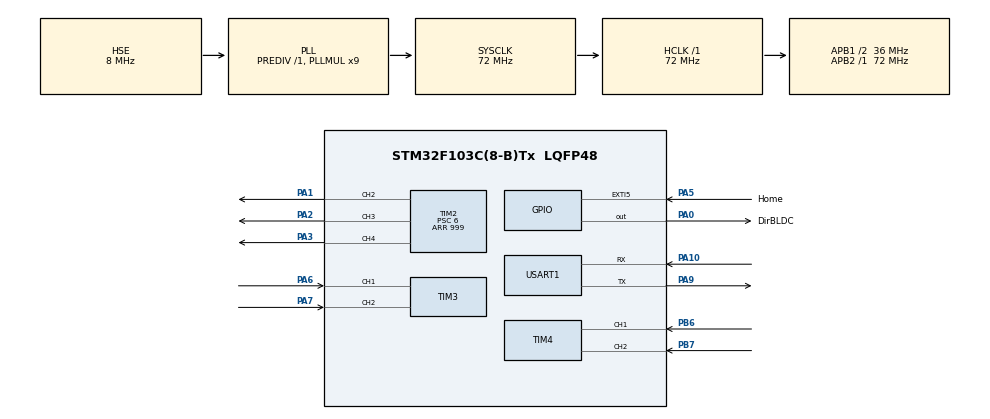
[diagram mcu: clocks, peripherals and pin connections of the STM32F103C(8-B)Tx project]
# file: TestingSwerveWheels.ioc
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Dma.Request0=USART1_RX
Dma.USART1_RX.0.Direction=DMA_PERIPH_TO_MEMORY
Dma.USART1_RX.0.Instance=DMA1_Channel5
Dma.USART1_RX.0.MemDataAlignment=DMA_MDATAALIGN_BYTE
Dma.USART1_RX.0.MemInc=DMA_MINC_ENABLE
Dma.USART1_RX.0.Mode=DMA_NORMAL
Dma.USART1_RX.0.PeriphDataAlignment=DMA_PDATAALIGN_BYTE
Dma.USART1_RX.0.PeriphInc=DMA_PINC_DISABLE
Dma.USART1_RX.0.Priority=DMA_PRIORITY_LOW
FREERTOS.Tasks01=PID_BLDC,-1,128,StartPID_BLDC,Default,NULL,Dynamic,NULL,NULL;PID_DC,1,128,StartPID_DC,Default,NULL,Dynamic,NULL,NULL;LogicTask,0,128,StartLogicTask,Default,NULL,Dynamic,NULL,NULL
Mcu.Family=STM32F1
Mcu.Name=STM32F103C(8-B)Tx
Mcu.Package=LQFP48
NVIC.DMA1_Channel5_IRQn=true\:5\:0\:false\:false\:true\:true\:false\:true\:true
NVIC.EXTI9_5_IRQn=true\:5\:0\:false\:false\:true\:true\:true\:true\:true
NVIC.PriorityGroup=NVIC_PRIORITYGROUP_4
NVIC.TIM1_UP_IRQn=true\:15\:0\:false\:false\:true\:false\:false\:true\:true
NVIC.TIM3_IRQn=true\:5\:0\:false\:false\:true\:true\:true\:true\:true
NVIC.TIM4_IRQn=true\:5\:0\:false\:false\:true\:true\:true\:true\:true
NVIC.TimeBase=TIM1_UP_IRQn
NVIC.TimeBaseIP=TIM1
NVIC.USART1_IRQn=true\:5\:0\:false\:false\:true\:true\:true\:true\:true
PA0-WKUP.GPIO_Label=DirBLDC
PA0-WKUP.Signal=GPIO_Output
PA1.Signal=S_TIM2_CH2
PA10.Mode=Asynchronous
PA10.Signal=USART1_RX
PA13.Mode=Serial_Wire
PA13.Signal=SYS_JTMS-SWDIO
PA14.Mode=Serial_Wire
PA14.Signal=SYS_JTCK-SWCLK
PA2.Signal=S_TIM2_CH3
PA3.Signal=S_TIM2_CH4
PA5.GPIO_Label=Home
PA5.Signal=GPXTI5
PA6.Signal=S_TIM3_CH1
PA7.Signal=S_TIM3_CH2
PA9.Mode=Asynchronous
PA9.Signal=USART1_TX
PB6.Signal=S_TIM4_CH1
PB7.Signal=S_TIM4_CH2
PD0-OSC_IN.Mode=HSE-External-Oscillator
PD0-OSC_IN.Signal=RCC_OSC_IN
PD1-OSC_OUT.Mode=HSE-External-Oscillator
PD1-OSC_OUT.Signal=RCC_OSC_OUT
ProjectManager.HeapSize=0x200
ProjectManager.StackSize=0x400
ProjectManager.TargetToolchain=STM32CubeIDE
RCC.AHBFreq_Value=72000000
RCC.APB1CLKDivider=RCC_HCLK_DIV2
RCC.APB1Freq_Value=36000000
RCC.APB1TimFreq_Value=72000000
RCC.APB2Freq_Value=72000000
RCC.APB2TimFreq_Value=72000000
RCC.HCLKFreq_Value=72000000
RCC.PLLMUL=RCC_PLL_MUL9
RCC.PLLSourceVirtual=RCC_PLLSOURCE_HSE
RCC.SYSCLKFreq_VALUE=72000000
RCC.SYSCLKSource=RCC_SYSCLKSOURCE_PLLCLK
RCC.USBFreq_Value=72000000
SH.S_TIM2_CH2.0=TIM2_CH2,PWM Generation2 CH2
SH.S_TIM2_CH3.0=TIM2_CH3,PWM Generation3 CH3
SH.S_TIM2_CH4.0=TIM2_CH4,PWM Generation4 CH4
SH.S_TIM3_CH1.0=TIM3_CH1,Encoder_Interface
SH.S_TIM3_CH2.0=TIM3_CH2,Encoder_Interface
SH.S_TIM4_CH1.0=TIM4_CH1,Encoder_Interface
SH.S_TIM4_CH2.0=TIM4_CH2,Encoder_Interface
TIM2.Channel-PWM\ Generation2\ CH2=TIM_CHANNEL_2
TIM2.Channel-PWM\ Generation3\ CH3=TIM_CHANNEL_3
TIM2.Channel-PWM\ Generation4\ CH4=TIM_CHANNEL_4
TIM2.Period=999
TIM2.Prescaler=6
TIM3.EncoderMode=TIM_ENCODERMODE_TI12
TIM4.EncoderMode=TIM_ENCODERMODE_TI12
USART1.VirtualMode=VM_ASYNC
VP_FREERTOS_VS_CMSIS_V1.Mode=CMSIS_V1
VP_SYS_VS_tim1.Mode=TIM1
VP_TIM2_VS_ClockSourceINT.Mode=Internal
board=custom

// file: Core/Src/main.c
/* USER CODE BEGIN Header */
/**
  ******************************************************************************
  * @file           : main.c
  * @brief          : Main program body
  ******************************************************************************
  * @attention
  *
  * Copyright (c) 2023 STMicroelectronics.
  * All rights reserved.
  *
  * This software is licensed under terms that can be found in the LICENSE file
  * in the root directory of this software component.
  * If no LICENSE file comes with this software, it is provided AS-IS.
  *
  ******************************************************************************
  */
/* USER CODE END Header */
#include "main.h"
#include "cmsis_os.h"

/* USER CODE BEGIN Includes */
#include "Encoder.h"
#include "DriveMotor.h"
#include "PID.h"
#include "stdlib.h"
#include "string.h"
/* USER CODE END Includes */

/* USER CODE BEGIN PM */
/*-----------------------------Begin:General Macro----------------------------*/
#define _SecondsPerMin 60
/*-----------------------------End:General Macro------------------------------*/

/*-----------------------------Begin:Initial Macro----------------------------*/
#define AtHome 0
#define NotAtHome 1
#define IntialFindingSpeed 20
#define AccurateFindingSpeed 2
#define FindingDegreeAboveLimit 180
#define FindingDegreeBelowLimit -180
#define AccurateFindingDegreeAboveLimit 10
#define AccurateFindingDegreeBelowLimit -10
#define IntialState 0
#define IntialStopAndResetState 1
#define AccurateFindingState 2
#define	AccurateStopAndResetState 3
#define EndState 4
/*-----------------------------End:Initial Macro------------------------------*/
/*-----------------------------Begin:PID BLDC Macro---------------------------*/
#define BLDCPropotion				0.2
#define BLDCIntergral				10
#define BLDCDerivative				0
#define BLDCAlpha					0
#define BLDCDeltaT					0.001
#define BLDCClockWise				1
#define BLDCCounterClockWise		0
#define BLDCIntergralAboveLimit		1000
#define BLDCIntergralBelowLimit	   -1000
#define BLDCSumAboveLimit			1000
#define BLDCSumBelowLimit		   -1000
#define BLDCEncoderPerRound			200
#define BLDCGearRatio 				2.5

//double BLDCPropotion;
//double BLDCIntergral;
//double BLDCDerivative;
/*-----------------------------End:PID BLDC Macro-----------------------------*/

/*-----------------------------Begin:PID DC Macro(SPEED)----------------------*/
#define DCProportion 			5
#define DCIntegral				300
#define DCDerivatite			0
#define DCAlpha					0
#define DCDeltaT				0.001
#define DCClockWise				1
#define DCCounterClockWise 	   -1
#define DCStop					0
#define DCIntegralAboveLimit	1000
#define DCIntegralBelowLimit	-1000
#define DCSumAboveLimit 		1000
#define DCSumBelowLimit			-1000
#define DCEncoderPerRound		1000
#define DCGearRatio				3.535

/*-----------------------------End:PID DC Macro(SPEED)------------------------*/

/*-----------------------------Begin:PID DC Macro(POS)------------------------*/

#define DCProportionPOS 				10
#define DCIntegralPOS					0
#define DCDerivatitePOS					0
#define DCAlphaPOS						0
#define DCDeltaTPOS						0.001
#define DCIntegralAboveLimitPOS			1000
#define DCIntegralBelowLimitPOS			-1000
#define DCSumAboveLimitPOS				1000
#define DCSumBelowLimitPOS				-1000

/*-----------------------------End:PID DC Macro(POS)--------------------------*/
/* USER CODE END PM */

TIM_HandleTypeDef htim2;
TIM_HandleTypeDef htim3;
TIM_HandleTypeDef htim4;

UART_HandleTypeDef huart1;
DMA_HandleTypeDef hdma_usart1_rx;

osThreadId PID_BLDCHandle;
osThreadId PID_DCHandle;
osThreadId LogicTaskHandle;
/* USER CODE BEGIN PV */
EncoderRead ENC_BLDC;
EncoderRead ENC_DC;

MotorDrive BLDC;
MotorDrive DC;

PID_Param PID_BLDC;
PID_Param PID_DC_SPEED;
PID_Param PID_DC_POS;

double SpeedTestBLDC;

double SpeedTest_DC_Speed;
double SpeedTest_DC_POS;

float BLDCSpeed;
float DCPos;

double Degree;

uint8_t HomeStatus, HomeFound, RunStatus;
int8_t dir=1;
int countX1;
/* USER CODE END PV */

void SystemClock_Config(void);
static void MX_GPIO_Init(void);
static void MX_DMA_Init(void);
static void MX_TIM3_Init(void);
static void MX_TIM2_Init(void);
static void MX_USART1_UART_Init(void);
static void MX_TIM4_Init(void);
void StartPID_BLDC(void const * argument);
void StartPID_DC(void const * argument);
void StartLogicTask(void const * argument);

/* USER CODE BEGIN 0 */

void PIDBLDC(void){
	SpeedReadOnly(&ENC_BLDC);

	Pid_Cal(&PID_BLDC, SpeedTestBLDC, ENC_BLDC.vel_Real);

	BLDC_Drive_RedBoard(&BLDC, &htim2, PID_BLDC.u, TIM_CHANNEL_2);
}

void PIDDCSPEED(void){
	SpeedReadNonReset(&ENC_DC);

	Pid_Cal(&PID_DC_SPEED, SpeedTest_DC_Speed, ENC_DC.vel_Real);

	DC_Drive_BTS(&DC, &htim2, motor_Reserve, PID_DC_SPEED.u, TIM_CHANNEL_3, TIM_CHANNEL_4);
}

void PIDDCPOS(void){
	Pid_Cal(&PID_DC_POS, SpeedTest_DC_POS, CountRead(&ENC_DC, count_ModeDegree));

	SpeedTest_DC_Speed = PID_DC_POS.u;

	PIDDCSPEED();
}

void SetAndResetU2parameter(uint8_t command){
	if(!command){
		PID_DC_SPEED.uI_AboveLimit=0;
		PID_DC_SPEED.uI_BelowLimit=0;
		PID_DC_SPEED.u_AboveLimit=0;
		PID_DC_SPEED.u_BelowLimit=0;
		ENC_DC.vel_Pre = 0;
		ENC_DC.vel_Real = 0;
	}else{
		PID_DC_SPEED.uI_AboveLimit = DCIntegralAboveLimit;
		PID_DC_SPEED.uI_BelowLimit = DCIntegralBelowLimit;
		PID_DC_SPEED.u_AboveLimit = DCSumAboveLimit;
		PID_DC_SPEED.u_BelowLimit = DCSumBelowLimit;
	}
}

void HomeFinding()
{
	if(HAL_GPIO_ReadPin(Home_GPIO_Port, Home_Pin) == AtHome)	// if found home successfully
	{
		osDelay(1);
		if(HAL_GPIO_ReadPin(Home_GPIO_Port, Home_Pin) == AtHome)
		{
			HomeStatus = 1;
			if((RunStatus == IntialState) || (RunStatus == AccurateFindingState))
			{
				SpeedTest_DC_POS = CountRead(&ENC_DC, count_ModeDegree);
				RunStatus++;
			}
		}
	}

	if(RunStatus == IntialState)
	{
		if(CountRead(&ENC_DC, count_ModeDegree) > FindingDegreeAboveLimit)
		{
			dir = -1;
		}
		else if(CountRead(&ENC_DC, count_ModeDegree) < FindingDegreeBelowLimit)
		{
			dir = 1;
		}
		SpeedTest_DC_Speed = 30 * dir;
	}

	if((RunStatus == IntialStopAndResetState) || (RunStatus == AccurateStopAndResetState))
	{
		osDelay(500);
		SetAndResetU2parameter(0);
		ResetCount(&ENC_DC, 1);
		SpeedTest_DC_POS = 0;
		osDelay(10);
		ResetCount(&ENC_DC, 0);
		SetAndResetU2parameter(1);
		RunStatus++;
	}

	if((RunStatus == AccurateFindingState) && (HAL_GPIO_ReadPin(Home_GPIO_Port, Home_Pin) == NotAtHome))
	{
		if(CountRead(&ENC_DC, count_ModeDegree) > AccurateFindingDegreeAboveLimit)
		{
			dir = -1;
		}
		else if(CountRead(&ENC_DC, count_ModeDegree) < AccurateFindingDegreeBelowLimit)
		{
			dir = 1;
		}
		SpeedTest_DC_Speed = 2 * dir;
	}

	if(RunStatus == EndState)
	{
		HomeFound = 1;
	}
}

/* ------------------Begin: Receive Data From Main----------------------------*/

uint8_t Rx_Buf[41];

void HAL_UARTEx_RxEventCallback(UART_HandleTypeDef *huart, uint16_t Size)
{
	if(huart -> Instance == USART1)
	{
		HAL_UARTEx_ReceiveToIdle_DMA(&huart1, Rx_Buf, 41);
		if (Rx_Buf[40]==13)
		{
			DecodeData(Rx_Buf);
			memset(Rx_Buf,0,Size);
		}
		__HAL_DMA_DISABLE_IT(&hdma_usart1_rx, DMA_IT_HT);
	}
}

/* ------------------End: Receive Data From Main------------------------------*/

/* ------------------Begin: Decode Data From Main-----------------------------*/

#define ID 4
uint8_t Mode;
float BLDCSpeed;
float DCPos;
uint8_t *pFloat = NULL;

void DecodeData(uint8_t* dataArr)
{
	if(dataArr[0] == ID)
	{
		pFloat = &Mode;
		*(pFloat)=dataArr[1];
		pFloat = &BLDCSpeed;
		for(uint8_t i = 2; i < 6; i++)
		{
			*(pFloat+i-2)=dataArr[i];
		}
		pFloat = &DCPos;
		for(uint8_t i = 6; i < 10; i++)
		{
			*(pFloat+i-6)=dataArr[i];
		}
	}
	else if(dataArr[10] == ID)
	{
		pFloat = &Mode;
		*(pFloat)=dataArr[11];
		pFloat = &BLDCSpeed;
		for(uint8_t i = 12; i < 16; i++)
		{
			*(pFloat+i-12)=dataArr[i];
		}
		pFloat = &DCPos;
		for(uint8_t i = 16; i < 20; i++)
		{
			*(pFloat+i-16)=dataArr[i];
		}
	}else if(dataArr[20] == ID)
	{
		pFloat = &Mode;
		*(pFloat)=dataArr[21];
		pFloat = &BLDCSpeed;
		for(uint8_t i = 22; i < 26; i++)
		{
			*(pFloat+i-22)=dataArr[i];
		}
		pFloat = &DCPos;
		for(uint8_t i = 26; i < 30; i++)
		{
			*(pFloat+i-26)=dataArr[i];
		}
	}else if(dataArr[30] == ID)
	{
		pFloat = &Mode;
		*(pFloat)=dataArr[31];
		pFloat = &BLDCSpeed;
		for(uint8_t i = 32; i < 36; i++)
		{
			*(pFloat+i-32)=dataArr[i];
		}
		pFloat = &DCPos;
		for(uint8_t i = 36; i < 40; i++)
		{
			*(pFloat+i-36)=dataArr[i];
		}
	}
}

/* ------------------End: Decode Data From Main-------------------------------*/

/* USER CODE END 0 */

int main(void)
{

  /* MCU Configuration--------------------------------------------------------*/

  /* Reset of all peripherals, Initializes the Flash interface and the Systick. */
  HAL_Init();

  /* Configure the system clock */
  SystemClock_Config();

  /* Initialize all configured peripherals */
  MX_GPIO_Init();
  MX_DMA_Init();
  MX_TIM3_Init();
  MX_TIM2_Init();
  MX_USART1_UART_Init();
  MX_TIM4_Init();
  /* USER CODE BEGIN 2 */
  /* -------------------Begin: Init PWM CHANNELS------------------------------*/
  HAL_TIM_PWM_Start(&htim2, TIM_CHANNEL_2);
  HAL_TIM_PWM_Start(&htim2, TIM_CHANNEL_3);
  HAL_TIM_PWM_Start(&htim2, TIM_CHANNEL_4);
  /* -------------------End: Init PWM CHANNELS--------------------------------*/

  /* -------------------Begin: Init Interrupt Encoder's Channels--------------*/
  HAL_TIM_Encoder_Start_IT(&htim3, TIM_CHANNEL_ALL);
  HAL_TIM_Encoder_Start_IT(&htim4, TIM_CHANNEL_ALL);
  /* -------------------End: Init Interrupt Encoder's Channels----------------*/

  /* -------------------Begin: Setting BLDC-----------------------------------*/
  EncoderSetting(&ENC_BLDC, &htim4, BLDCEncoderPerRound*BLDCGearRatio, BLDCDeltaT);
  Pid_SetParam(&PID_BLDC, BLDCPropotion, BLDCIntergral, BLDCDerivative, BLDCAlpha, BLDCDeltaT, BLDCIntergralAboveLimit, BLDCIntergralBelowLimit, BLDCSumAboveLimit, BLDCSumBelowLimit);
  /* -------------------End: Setting BLDC-----------------------------------*/

  EncoderSetting(&ENC_DC, &htim3, DCEncoderPerRound*DCGearRatio, DCDeltaT);
  Pid_SetParam(&PID_DC_SPEED, DCProportion, DCIntegral, DCDerivatite, DCAlpha, DCDeltaT, DCIntegralAboveLimit, DCIntegralBelowLimit, DCSumAboveLimit, DCSumBelowLimit);
  Pid_SetParam(&PID_DC_POS, DCProportionPOS, DCIntegralPOS, DCDerivatitePOS, DCAlphaPOS, DCDeltaTPOS, DCIntegralAboveLimitPOS, DCIntegralBelowLimitPOS, DCSumAboveLimitPOS, DCSumBelowLimitPOS);

  HAL_UARTEx_ReceiveToIdle_DMA(&huart1, Rx_Buf, 41);
  __HAL_DMA_DISABLE_IT(&hdma_usart1_rx, DMA_IT_HT);
  /* USER CODE END 2 */

  /* Create the thread(s) */
  /* definition and creation of PID_BLDC */
  osThreadDef(PID_BLDC, StartPID_BLDC, osPriorityBelowNormal, 0, 128);
  PID_BLDCHandle = osThreadCreate(osThread(PID_BLDC), NULL);

  /* definition and creation of PID_DC */
  osThreadDef(PID_DC, StartPID_DC, osPriorityAboveNormal, 0, 128);
  PID_DCHandle = osThreadCreate(osThread(PID_DC), NULL);

  /* definition and creation of LogicTask */
  osThreadDef(LogicTask, StartLogicTask, osPriorityNormal, 0, 128);
  LogicTaskHandle = osThreadCreate(osThread(LogicTask), NULL);

  /* Start scheduler */
  osKernelStart();

  /* We should never get here as control is now taken by the scheduler */
  /* Infinite loop */
  while (1)
  {

  }
}

void SystemClock_Config(void)
{
  RCC_OscInitTypeDef RCC_OscInitStruct = {0};
  RCC_ClkInitTypeDef RCC_ClkInitStruct = {0};

  /** Initializes the RCC Oscillators according to the specified parameters
  * in the RCC_OscInitTypeDef structure.
  */
  RCC_OscInitStruct.OscillatorType = RCC_OSCILLATORTYPE_HSE;
  RCC_OscInitStruct.HSEState = RCC_HSE_ON;
  RCC_OscInitStruct.HSEPredivValue = RCC_HSE_PREDIV_DIV1;
  RCC_OscInitStruct.HSIState = RCC_HSI_ON;
  RCC_OscInitStruct.PLL.PLLState = RCC_PLL_ON;
  RCC_OscInitStruct.PLL.PLLSource = RCC_PLLSOURCE_HSE;
  RCC_OscInitStruct.PLL.PLLMUL = RCC_PLL_MUL9;
  if (HAL_RCC_OscConfig(&RCC_OscInitStruct) != HAL_OK)
  {
    Error_Handler();
  }

  /** Initializes the CPU, AHB and APB buses clocks
  */
  RCC_ClkInitStruct.ClockType = RCC_CLOCKTYPE_HCLK|RCC_CLOCKTYPE_SYSCLK
                              |RCC_CLOCKTYPE_PCLK1|RCC_CLOCKTYPE_PCLK2;
  RCC_ClkInitStruct.SYSCLKSource = RCC_SYSCLKSOURCE_PLLCLK;
  RCC_ClkInitStruct.AHBCLKDivider = RCC_SYSCLK_DIV1;
  RCC_ClkInitStruct.APB1CLKDivider = RCC_HCLK_DIV2;
  RCC_ClkInitStruct.APB2CLKDivider = RCC_HCLK_DIV1;

  if (HAL_RCC_ClockConfig(&RCC_ClkInitStruct, FLASH_LATENCY_2) != HAL_OK)
  {
    Error_Handler();
  }
}

static void MX_TIM2_Init(void)
{

  TIM_ClockConfigTypeDef sClockSourceConfig = {0};
  TIM_MasterConfigTypeDef sMasterConfig = {0};
  TIM_OC_InitTypeDef sConfigOC = {0};

  htim2.Instance = TIM2;
  htim2.Init.Prescaler = 6;
  htim2.Init.CounterMode = TIM_COUNTERMODE_UP;
  htim2.Init.Period = 999;
  htim2.Init.ClockDivision = TIM_CLOCKDIVISION_DIV1;
  htim2.Init.AutoReloadPreload = TIM_AUTORELOAD_PRELOAD_DISABLE;
  if (HAL_TIM_Base_Init(&htim2) != HAL_OK)
  {
    Error_Handler();
  }
  sClockSourceConfig.ClockSource = TIM_CLOCKSOURCE_INTERNAL;
  if (HAL_TIM_ConfigClockSource(&htim2, &sClockSourceConfig) != HAL_OK)
  {
    Error_Handler();
  }
  if (HAL_TIM_PWM_Init(&htim2) != HAL_OK)
  {
    Error_Handler();
  }
  sMasterConfig.MasterOutputTrigger = TIM_TRGO_RESET;
  sMasterConfig.MasterSlaveMode = TIM_MASTERSLAVEMODE_DISABLE;
  if (HAL_TIMEx_MasterConfigSynchronization(&htim2, &sMasterConfig) != HAL_OK)
  {
    Error_Handler();
  }
  sConfigOC.OCMode = TIM_OCMODE_PWM1;
  sConfigOC.Pulse = 0;
  sConfigOC.OCPolarity = TIM_OCPOLARITY_HIGH;
  sConfigOC.OCFastMode = TIM_OCFAST_DISABLE;
  if (HAL_TIM_PWM_ConfigChannel(&htim2, &sConfigOC, TIM_CHANNEL_2) != HAL_OK)
  {
    Error_Handler();
  }
  if (HAL_TIM_PWM_ConfigChannel(&htim2, &sConfigOC, TIM_CHANNEL_3) != HAL_OK)
  {
    Error_Handler();
  }
  if (HAL_TIM_PWM_ConfigChannel(&htim2, &sConfigOC, TIM_CHANNEL_4) != HAL_OK)
  {
    Error_Handler();
  }
  HAL_TIM_MspPostInit(&htim2);

}

static void MX_TIM3_Init(void)
{

  TIM_Encoder_InitTypeDef sConfig = {0};
  TIM_MasterConfigTypeDef sMasterConfig = {0};

  htim3.Instance = TIM3;
  htim3.Init.Prescaler = 0;
  htim3.Init.CounterMode = TIM_COUNTERMODE_UP;
  htim3.Init.Period = 65535;
  htim3.Init.ClockDivision = TIM_CLOCKDIVISION_DIV1;
  htim3.Init.AutoReloadPreload = TIM_AUTORELOAD_PRELOAD_DISABLE;
  sConfig.EncoderMode = TIM_ENCODERMODE_TI12;
  sConfig.IC1Polarity = TIM_ICPOLARITY_RISING;
  sConfig.IC1Selection = TIM_ICSELECTION_DIRECTTI;
  sConfig.IC1Prescaler = TIM_ICPSC_DIV1;
  sConfig.IC1Filter = 0;
  sConfig.IC2Polarity = TIM_ICPOLARITY_RISING;
  sConfig.IC2Selection = TIM_ICSELECTION_DIRECTTI;
  sConfig.IC2Prescaler = TIM_ICPSC_DIV1;
  sConfig.IC2Filter = 0;
  if (HAL_TIM_Encoder_Init(&htim3, &sConfig) != HAL_OK)
  {
    Error_Handler();
  }
  sMasterConfig.MasterOutputTrigger = TIM_TRGO_RESET;
  sMasterConfig.MasterSlaveMode = TIM_MASTERSLAVEMODE_DISABLE;
  if (HAL_TIMEx_MasterConfigSynchronization(&htim3, &sMasterConfig) != HAL_OK)
  {
    Error_Handler();
  }

}

static void MX_TIM4_Init(void)
{

  TIM_Encoder_InitTypeDef sConfig = {0};
  TIM_MasterConfigTypeDef sMasterConfig = {0};

  htim4.Instance = TIM4;
  htim4.Init.Prescaler = 0;
  htim4.Init.CounterMode = TIM_COUNTERMODE_UP;
  htim4.Init.Period = 65535;
  htim4.Init.ClockDivision = TIM_CLOCKDIVISION_DIV1;
  htim4.Init.AutoReloadPreload = TIM_AUTORELOAD_PRELOAD_DISABLE;
  sConfig.EncoderMode = TIM_ENCODERMODE_TI12;
  sConfig.IC1Polarity = TIM_ICPOLARITY_RISING;
  sConfig.IC1Selection = TIM_ICSELECTION_DIRECTTI;
  sConfig.IC1Prescaler = TIM_ICPSC_DIV1;
  sConfig.IC1Filter = 0;
  sConfig.IC2Polarity = TIM_ICPOLARITY_RISING;
  sConfig.IC2Selection = TIM_ICSELECTION_DIRECTTI;
  sConfig.IC2Prescaler = TIM_ICPSC_DIV1;
  sConfig.IC2Filter = 0;
  if (HAL_TIM_Encoder_Init(&htim4, &sConfig) != HAL_OK)
  {
    Error_Handler();
  }
  sMasterConfig.MasterOutputTrigger = TIM_TRGO_RESET;
  sMasterConfig.MasterSlaveMode = TIM_MASTERSLAVEMODE_DISABLE;
  if (HAL_TIMEx_MasterConfigSynchronization(&htim4, &sMasterConfig) != HAL_OK)
  {
    Error_Handler();
  }

}

static void MX_USART1_UART_Init(void)
{

  huart1.Instance = USART1;
  huart1.Init.BaudRate = 115200;
  huart1.Init.WordLength = UART_WORDLENGTH_8B;
  huart1.Init.StopBits = UART_STOPBITS_1;
  huart1.Init.Parity = UART_PARITY_NONE;
  huart1.Init.Mode = UART_MODE_TX_RX;
  huart1.Init.HwFlowCtl = UART_HWCONTROL_NONE;
  huart1.Init.OverSampling = UART_OVERSAMPLING_16;
  if (HAL_UART_Init(&huart1) != HAL_OK)
  {
    Error_Handler();
  }

}

static void MX_DMA_Init(void)
{

  /* DMA controller clock enable */
  __HAL_RCC_DMA1_CLK_ENABLE();

  /* DMA interrupt init */
  /* DMA1_Channel5_IRQn interrupt configuration */
  HAL_NVIC_SetPriority(DMA1_Channel5_IRQn, 5, 0);
  HAL_NVIC_EnableIRQ(DMA1_Channel5_IRQn);

}

static void MX_GPIO_Init(void)
{
  GPIO_InitTypeDef GPIO_InitStruct = {0};

  /* GPIO Ports Clock Enable */
  __HAL_RCC_GPIOD_CLK_ENABLE();
  __HAL_RCC_GPIOA_CLK_ENABLE();
  __HAL_RCC_GPIOB_CLK_ENABLE();

  /*Configure GPIO pin Output Level */
  HAL_GPIO_WritePin(DirBLDC_GPIO_Port, DirBLDC_Pin, GPIO_PIN_RESET);

  /*Configure GPIO pin : DirBLDC_Pin */
  GPIO_InitStruct.Pin = DirBLDC_Pin;
  GPIO_InitStruct.Mode = GPIO_MODE_OUTPUT_PP;
  GPIO_InitStruct.Pull = GPIO_NOPULL;
  GPIO_InitStruct.Speed = GPIO_SPEED_FREQ_LOW;
  HAL_GPIO_Init(DirBLDC_GPIO_Port, &GPIO_InitStruct);

  /*Configure GPIO pin : Home_Pin */
  GPIO_InitStruct.Pin = Home_Pin;
  GPIO_InitStruct.Mode = GPIO_MODE_IT_RISING;
  GPIO_InitStruct.Pull = GPIO_NOPULL;
  HAL_GPIO_Init(Home_GPIO_Port, &GPIO_InitStruct);

  /* EXTI interrupt init*/
  HAL_NVIC_SetPriority(EXTI9_5_IRQn, 5, 0);
  HAL_NVIC_EnableIRQ(EXTI9_5_IRQn);

}

void StartPID_BLDC(void const * argument)
{
  /* USER CODE BEGIN 5 */
  /* Infinite loop */
  for(;;)
  {
//	SpeedReadNonReset(&ENC_BLDC);

	PIDBLDC();
    osDelay(1);
  }
  /* USER CODE END 5 */
}

void StartPID_DC(void const * argument)
{
  /* USER CODE BEGIN StartPID_DC */
  /* Infinite loop */
  for(;;)
  {
//	SpeedReadNonReset(&ENC_DC);
	if((HomeStatus) && (RunStatus != 2))
	{
		PIDDCPOS();
	}
	else
	{
		PIDDCSPEED();
	}
//	PIDDCPOS();
    osDelay(1);
  }
  /* USER CODE END StartPID_DC */
}

void StartLogicTask(void const * argument)
{
  /* USER CODE BEGIN StartLogicTask */
  /* Infinite loop */
  for(;;)
  {
	if(HomeFound == 0)
	{
		HomeFinding();
	}
	else if(HomeFound == 1)
	{
		SpeedTest_DC_POS = DCPos;
		SpeedTestBLDC = BLDCSpeed;
		HAL_UART_Transmit(&huart1, ID, 1, 1000);
	}
    osDelay(1);
  }
  /* USER CODE END StartLogicTask */
}

void HAL_TIM_PeriodElapsedCallback(TIM_HandleTypeDef *htim)
{
  if (htim->Instance == TIM1) {
    HAL_IncTick();
  }
}

void Error_Handler(void)
{
  __disable_irq();
  while (1)
  {
  }
}
